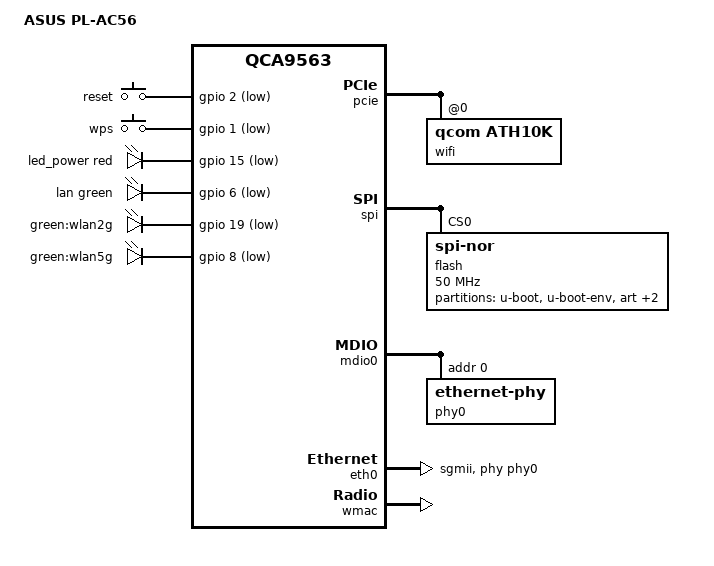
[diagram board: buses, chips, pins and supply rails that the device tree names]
// SPDX-License-Identifier: GPL-2.0-or-later OR MIT

#include "qca956x.dtsi"

#include <dt-bindings/gpio/gpio.h>
#include <dt-bindings/input/input.h>
#include <dt-bindings/leds/common.h>

/ {
	model = "ASUS PL-AC56";
	compatible = "asus,pl-ac56", "qca,qca9563";

	aliases {
		led-boot = &led_power;
		led-failsafe = &led_power;
		led-upgrade = &led_power;
		label-mac-device = &eth0;
	};

	keys {
		compatible = "gpio-keys";

		reset {
			linux,code = <BTN_0>;
			gpios = <&gpio 2 GPIO_ACTIVE_LOW>;
			debounce-interval = <60>;
		};

		wps {
			linux,code = <KEY_WPS_BUTTON>;
			gpios = <&gpio 1 GPIO_ACTIVE_LOW>;
			debounce-interval = <60>;
		};
	};

	leds {
		compatible = "gpio-leds";

		led_power: power {
			function = LED_FUNCTION_POWER;
			color = <LED_COLOR_ID_RED>;
			gpios = <&gpio 15 GPIO_ACTIVE_LOW>;
		};

		lan {
			function = LED_FUNCTION_LAN;
			color = <LED_COLOR_ID_GREEN>;
			gpios = <&gpio 6 GPIO_ACTIVE_LOW>;
		};

		wlan2g {
			label = "green:wlan2g";
			gpios = <&gpio 19 GPIO_ACTIVE_LOW>;
		};

		wlan5g {
			label = "green:wlan5g";
			gpios = <&gpio 8 GPIO_ACTIVE_LOW>;
		};
	};
};

&pcie {
	status = "okay";

	wifi@0,0 {
		compatible = "qcom,ath10k";
		reg = <0x0000 0 0 0 0>;
		nvmem-cells = <&cal_art_5000>;
		nvmem-cell-names = "calibration";
	};
};

&spi {
	status = "okay";

	flash@0 {
		compatible = "jedec,spi-nor";
		reg = <0>;
		spi-max-frequency = <50000000>;

		partitions {
			compatible = "fixed-partitions";
			#address-cells = <1>;
			#size-cells = <1>;

			partition@0 {
				label = "u-boot";
				reg = <0x000000 0x40000>;
				read-only;
			};

			partition@40000 {
				label = "u-boot-env";
				reg = <0x040000 0x10000>;
				read-only;
			};

			partition@50000 {
				label = "art";
				reg = <0x050000 0x10000>;
				read-only;

				nvmem-layout {
					compatible = "fixed-layout";
					#address-cells = <1>;
					#size-cells = <1>;

					macaddr_art_1002: macaddr@1002 {
						reg = <0x1002 0x6>;
					};

					cal_art_5000: calibration@5000 {
						reg = <0x5000 0x844>;
					};
				};
			};

			partition@60000 {
				compatible = "denx,uimage";
				label = "firmware";
				reg = <0x060000 0xf20000>;
			};

			partition@f80000 {
				label = "plc";
				reg = <0xf80000 0x80000>;
				read-only;
			};
		};
	};
};

&mdio0 {
	status = "okay";

	phy-mask = <0>;

	phy0: ethernet-phy@0 {
		reg = <0>;
		phy-mode = "sgmii";
		qca,mib-poll-interval = <500>;

		qca,ar8327-initvals = <
			0x04 0x80000080 /* AR8327_REG_PAD0_MODE */
			0x08 0x01000000 /* AR8327_REG_PAD5_MODE */
			0x0c 0x07500000 /* AR8327_REG_PAD6_MODE */
			0x10 0x602613a0 /* AR8327_REG_POWER_ON_STRAP */
			0x50 0xcc35cc35 /* AR8327_REG_LED_CTRL0 */
			0x54 0xca35ca35 /* AR8327_REG_LED_CTRL1 */
			0x58 0xc935c935 /* AR8327_REG_LED_CTRL2 */
			0x5c 0x03ffff00 /* AR8327_REG_LED_CTRL3 */
			0x7c 0x0000007e /* AR8327_REG_PORT_STATUS(0) */
			0x94 0x0000007e /* AR8327_REG_PORT_STATUS(6) */
		>;
	};
};

&eth0 {
	status = "okay";

	phy-mode = "sgmii";
	nvmem-cells = <&macaddr_art_1002>;
	nvmem-cell-names = "mac-address";
	phy-handle = <&phy0>;
};

&wmac {
	status = "okay";

	qca,no-eeprom;
};
